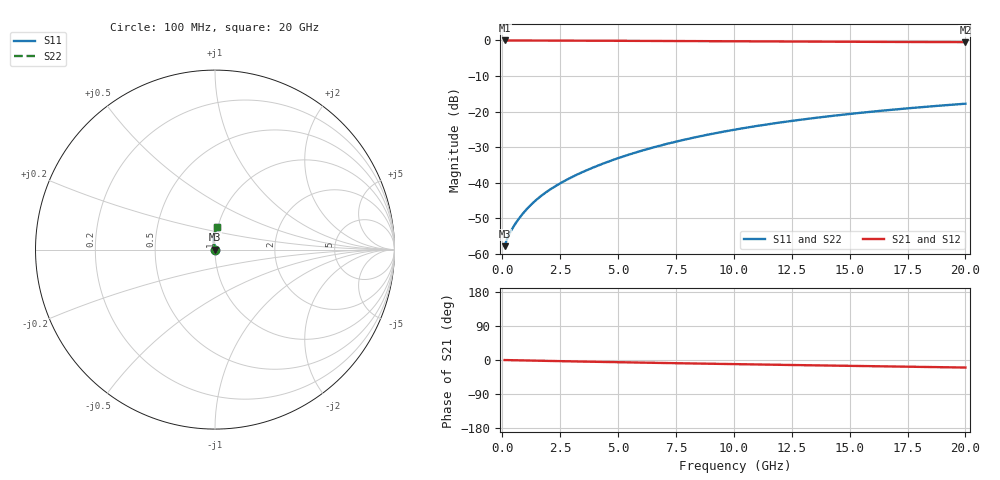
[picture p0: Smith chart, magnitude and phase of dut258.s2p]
! Touchstone file exported from HFSS 2024.1.0
!  File:  C:/UserFiles/LocalFiles/RDL_TSV_Batchsim/temp_RDL_top_258_1778689181.aedt
!  Generated:  12:21:50 AM May 14, 2026
!  Design:  RDL_top
!  Project:  temp_RDL_top_258_1778689181
!  Setup:  Setup1
!  Solution:  Sweep
! Variables:
!  dtsv = 10.80580581um
!  hbump = 3um
!  htsv = 81.11um
!  ldown = 100um
!  lrdl = 330.79um
!  p = 40
!  p1 = 40.83um
!  rhole = 1um
!  t = 450um
!  tdown = 3.915915916um
!  trdl = 4.43um
!  wdown = 15.38538539um
!  wrdl = 28.4um
# GHz S MA R 50.000000
! Terminal data exported
! Port[1] = Box2_T1
! Port[2] = Box2_T2
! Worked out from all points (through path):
!   200 points, 100 MHz to 20 GHz, reference 50 ohm
!   highest |S21| = -0.01 dB at 100 MHz (marker M1); lowest = -0.5 dB at 20 GHz (marker M2)
!   group delay of S21, straight-line fit = 2.71 ps
!   lowest |S11| = -57.8 dB at 100 MHz (marker M3), VSWR 1.00, Z = 50.1 + j0.0552 ohm
!   |S11| at or under -10 dB: start of sweep to end of sweep
!   |S22| runs from -57.8 to -17.8 dB; largest |S21 - S12| = 3.1e-15
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0.1  0.001287 25.3  0.9988 -0.1  0.9988 -0.1  0.001287 25.3
! Gamma 0 0 0 0
! Port Impedance 50 0 50 0
0.2  0.001611 37.0  0.9987 -0.3  0.9987 -0.3  0.001611 37.0
0.3  0.001902 44.4  0.9985 -0.4  0.9985 -0.4  0.001902 44.4
0.5  0.002468 55.6  0.9983 -0.6  0.9983 -0.6  0.002468 55.6
0.7  0.00308 63.7  0.9981 -0.9  0.9981 -0.9  0.00308 63.7
0.9  0.003736 69.5  0.9979 -1.1  0.9979 -1.1  0.003736 69.5
1.1  0.004423 74.0  0.9977 -1.4  0.9977 -1.4  0.004423 74.0
1.3  0.005136 77.5  0.9975 -1.6  0.9975 -1.6  0.005136 77.5
1.7  0.006622 82.7  0.9968 -2.1  0.9968 -2.1  0.006622 82.7
2.2  0.008586 87.3  0.9959 -2.7  0.9959 -2.7  0.008586 87.3
2.8  0.01111 91.3  0.9945 -3.4  0.9945 -3.4  0.01111 91.3
3.5  0.01431 94.7  0.9925 -4.2  0.9925 -4.2  0.01431 94.7
4.2  0.01781 97.0  0.9904 -5.0  0.9904 -5.0  0.01781 97.0
5  0.02216 98.8  0.9877 -5.9  0.9877 -5.9  0.02216 98.8
5.9  0.02748 99.8  0.9846 -6.8  0.9846 -6.8  0.02748 99.8
6.8  0.03319 100.2  0.9814 -7.7  0.9814 -7.7  0.03318 100.2
8.4  0.04405 99.5  0.9759 -9.3  0.9759 -9.3  0.04405 99.5
10.1  0.05625 97.9  0.9703 -11.0  0.9703 -11.0  0.05625 97.9
11.7  0.06807 95.8  0.9655 -12.5  0.9655 -12.5  0.06806 95.8
13.4  0.08074 93.5  0.9608 -14.0  0.9608 -14.0  0.08074 93.5
16.7  0.1052 88.8  0.9526 -17.0  0.9526 -17.0  0.1052 88.8
20  0.1291 84.3  0.9453 -19.9  0.9453 -19.9  0.1291 84.3
